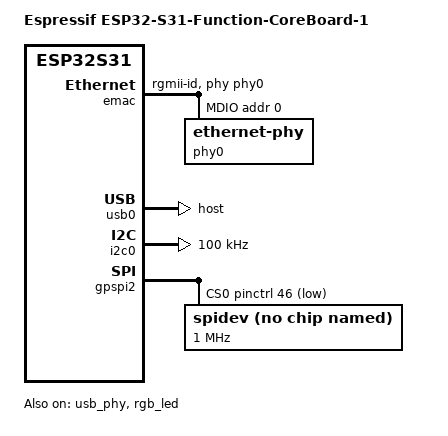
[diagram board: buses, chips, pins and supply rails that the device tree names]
// SPDX-License-Identifier: GPL-2.0+
/*
 * ESP32-S31-Function-CoreBoard-1, with the ESP32-S31-WROOM-3-N16R16V module:
 * UART0 on the USB-UART bridge, Gigabit Ethernet, a USB 2.0 host port and a
 * WS2812 RGB LED.
 * The root is on a USB stick.
 * Author: Roan Brand <brandroan@gmail.com>
 */
/dts-v1/;
#include "esp32s31.dtsi"
#include <dt-bindings/gpio/gpio.h>

/ {
	model = "Espressif ESP32-S31-Function-CoreBoard-1";
	compatible = "esp,esp32s31-function-coreboard-1", "esp,esp32s31";

	aliases {
		ethernet0 = &emac;
	};

	chosen {
		stdout-path = "serial0:115200n8";
	};
};

&pinctrl {
	/* The SoC list, ETH_INTN of the PHY (GPIO4, on J2), the LED (GPIO60). */
	gpio-reserved-ranges = <4 1>, <26 9>, <41 1>, <58 2>, <60 1>;
	/* The nets of the board; the flash pins of the module. */
	gpio-line-names =
		/*  0 */ "LCD_RST", "X32K_P", "", "LCD_TE", "ETH_INTN", "PHY_MDC",
		/*  6 */ "PHY_MDIO", "ETH_PHY_RST", "ETH_TXD0", "ETH_TXD1",
		/* 10 */ "ETH_TXD2", "ETH_TXD3", "ETH_TXCTL", "ETH_TXCLK",
		/* 14 */ "ETH_RX_CLK", "ETH_RCTL", "ETH_RXD3", "ETH_RXD2",
		/* 18 */ "ETH_RXD1", "ETH_RXD0", "SD_D0", "SD_D1", "SD_D2",
		/* 23 */ "SD_D3", "SD_CLK", "SD_CMD", "SPICS", "SPIQ",
		/* 28 */ "SPIWP", "", "SPIHD", "SPICLK", "SPID", "USB1P1_DN",
		/* 34 */ "USB1P1_DP", "QSPI_IO3", "", "", "", "", "", "", "", "", "",
		/* 45 */ "QSPI_SCLK", "QSPI_CS", "QSPI_IO0", "QSPI_IO1", "QSPI_IO2", "ESP_I2C_SCL", "ESP_I2C_SDA",
		/* 52 */ "I2S_MCLK", "I2S_SCLK", "I2S_ASDOUT", "I2S_LRCK",
		/* 56 */ "I2S_DSDIN", "PA_CTRL", "U0TXD", "U0RXD", "RGB_CTRL",
		/* 61 */ "BOOT";

	/* The RGMII pins of the IO MUX, function 2 */
	rgmii_cfg: rgmii-cfg {
		rgmii-tx-pins {
			pinmux = <ESP32S31_IOMUX(8, 2)>,	/* TXD0 */
				 <ESP32S31_IOMUX(9, 2)>,	/* TXD1 */
				 <ESP32S31_IOMUX(10, 2)>,	/* TXD2 */
				 <ESP32S31_IOMUX(11, 2)>,	/* TXD3 */
				 <ESP32S31_IOMUX(12, 2)>,	/* TX_CTL */
				 <ESP32S31_IOMUX(13, 2)>;	/* TX_CLK */
			bias-disable;
		};

		rgmii-rx-pins {
			pinmux = <ESP32S31_IOMUX_IN(14, 2, ESP32S31_SIG_GMAC_RX_CLK)>,
				 <ESP32S31_IOMUX_IN(15, 2, ESP32S31_SIG_GMAC_RXDV)>,
				 <ESP32S31_IOMUX_IN(16, 2, ESP32S31_SIG_GMAC_RXD3)>,
				 <ESP32S31_IOMUX_IN(17, 2, ESP32S31_SIG_GMAC_RXD2)>,
				 <ESP32S31_IOMUX_IN(18, 2, ESP32S31_SIG_GMAC_RXD1)>,
				 <ESP32S31_IOMUX_IN(19, 2, ESP32S31_SIG_GMAC_RXD0)>;
			bias-disable;
		};
	};

	led_cfg: led-cfg {
		led-pins {
			pinmux = <ESP32S31_MATRIX_OUT(60, ESP32S31_SIG_RMT_OUT0)>;
		};
	};

	/* ESP_I2C of the board */
	i2c0_cfg: i2c0-cfg {
		i2c0-pins {
			pinmux = <ESP32S31_MATRIX_INOUT(51, ESP32S31_SIG_I2C0_SDA)>,
				 <ESP32S31_MATRIX_INOUT(50, ESP32S31_SIG_I2C0_SCL)>;
			bias-pull-up;
			drive-open-drain;
		};
	};

	/* J2 pin 13 (GPIO47) is SDA, J2 pin 14 (GPIO48) is SCL. */
	i2c1_cfg: i2c1-cfg {
		i2c1-pins {
			pinmux = <ESP32S31_MATRIX_INOUT(47, ESP32S31_SIG_I2C1_SDA)>,
				 <ESP32S31_MATRIX_INOUT(48, ESP32S31_SIG_I2C1_SCL)>;
			bias-pull-up;
			drive-open-drain;
		};
	};

	/*
	 * Shield QSPI to the CO5300 panel: SCLK GPIO45, IO0 GPIO47, IO1
	 * GPIO48, IO2 GPIO49, IO3 GPIO35. CS is GPIO46, driven by the SPI
	 * core as a GPIO chip select (cs-gpios below), so the native CS0
	 * matrix route is deliberately NOT in this pinctrl state: the
	 * driver warns that a routed native CS fights the GPIO level.
	 */
	gpspi2_cfg: gpspi2-cfg {
		gpspi2-pins {
			pinmux = <ESP32S31_MATRIX_OUT(45, ESP32S31_SIG_GPSPI2_SCLK)>,
				 <ESP32S31_MATRIX_INOUT(47, ESP32S31_SIG_GPSPI2_MOSI)>,
				 <ESP32S31_MATRIX_INOUT(48, ESP32S31_SIG_GPSPI2_MISO)>,
				 <ESP32S31_MATRIX_INOUT(49, ESP32S31_SIG_GPSPI2_WP)>,
				 <ESP32S31_MATRIX_INOUT(35, ESP32S31_SIG_GPSPI2_HD)>;
			drive-strength = <20>;
			bias-pull-up;
			input-enable;
		};
	};

	mdio_cfg: mdio-cfg {
		mdio-pins {
			pinmux = <ESP32S31_MATRIX_OUT(5, ESP32S31_SIG_GMII_MDC)>,
				 <ESP32S31_MATRIX_OUT(6, ESP32S31_SIG_GMII_MDO)>,
				 <ESP32S31_MATRIX_IN(6, ESP32S31_SIG_GMII_MDI)>;
			bias-disable;
		};
	};
};

/* YT8531 PHY: after a chip reset it passes no frames, so MDIO resets it. */
&emac {
	pinctrl-names = "default";
	pinctrl-0 = <&rgmii_cfg>, <&mdio_cfg>;
	phy-mode = "rgmii-id";
	phy-handle = <&phy0>;
	status = "okay";

	mdio {
		compatible = "snps,dwmac-mdio";
		#address-cells = <1>;
		#size-cells = <0>;
		reset-gpios = <&pinctrl 7 GPIO_ACTIVE_LOW>;
		reset-delay-us = <10000>;
		reset-post-delay-us = <50000>;

		phy0: ethernet-phy@0 {
			reg = <0>;
		};
	};
};

/* The Type-A port: host only, with a TPS2051C switch for VBUS. */
&usb_phy { status = "okay"; };

&usb0 {
	dr_mode = "host";
	disable-over-current;
	status = "okay";
};

/* ESP_I2C on GPIO50 (SCL) and GPIO51 (SDA): /dev/i2c-0. */
&i2c0 {
	pinctrl-names = "default";
	pinctrl-0 = <&i2c0_cfg>;
	clock-frequency = <100000>;
	status = "okay";
};

/*
 * A second bus on header J2, for external devices: /dev/i2c-1 when
 * "okay".  The pull-ups of the pads are weak: add 4.7 kOhm to 3V3.
 */
&i2c1 {
	pinctrl-names = "default";
	pinctrl-0 = <&i2c1_cfg>;
	clock-frequency = <100000>;
	status = "disabled";
};

/* WS2812 RGB LED on GPIO60. */
&rgb_led {
	pinctrl-names = "default";
	pinctrl-0 = <&led_cfg>;
	status = "okay";
};

/* Shield QSPI: CO5300 panel on CS0, spidev for the Phase 1 ID test. */
&gpspi2 {
	pinctrl-names = "default";
	pinctrl-0 = <&gpspi2_cfg>;
	cs-gpios = <&pinctrl 46 GPIO_ACTIVE_LOW>;
	status = "okay";

	spidev@0 {
		/*
		 * Dummy compatible from spidev's DT allow-list: plain
		 * "spidev" in DT is explicitly rejected by the kernel
		 * (spidev_of_check, "spidev listed directly in DT is not
		 * supported"), so the device never binds and /dev/spidev2.0
		 * never appears. "rohm,dh2228fv" is the dummy GrieferPig
		 * uses for the same test.
		 */
		compatible = "rohm,dh2228fv";
		reg = <0>;
		spi-max-frequency = <1000000>;
		spi-tx-bus-width = <4>;
		spi-rx-bus-width = <4>;
	};
};
